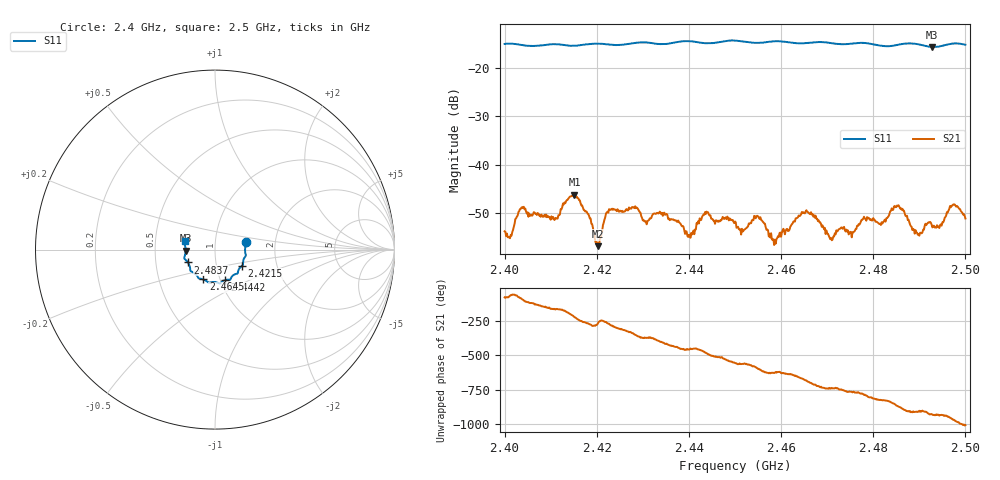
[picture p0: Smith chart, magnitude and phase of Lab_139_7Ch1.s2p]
# Hz S RI R 50
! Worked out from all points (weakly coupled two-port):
!   601 points, 2.4 GHz to 2.5 GHz, reference 50 ohm
!   highest |S21| = -46.21 dB at 2.4152 GHz (marker M1); lowest = -56.9 dB at 2.4202 GHz (marker M2)
!   lowest |S11| = -15.7 dB at 2.4928 GHz (marker M3), VSWR 1.39, Z = 36 - j0.384 ohm
!   |S11| at or under -10 dB: start of sweep to end of sweep
!   S12 and S22 are empty: the file has one direction only
!   S11 on the Smith chart (normalised r, x): 2.4 GHz: 1.41, +0.12; 2.4215 GHz: 1.33, -0.25; 2.4442 GHz: 1.05, -0.37; 2.4645 GHz: 0.83, -0.29; 2.4837 GHz: 0.73, -0.11; 2.5 GHz: 0.71, +0.07
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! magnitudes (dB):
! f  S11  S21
! 2.4 GHz  -15.1  -53.8
! 2.4037 GHz  -15.3  -48.9
! 2.411 GHz  -15.1  -51.0
! 2.4152 GHz  -15.5  -46.2
! 2.4167 GHz  -15.3  -48.5
! 2.4202 GHz  -15.0  -56.9
! 2.4215 GHz  -15.1  -52.1
! 2.4232 GHz  -15.3  -49.3
! 2.4333 GHz  -15.1  -50.1
! 2.4402 GHz  -14.5  -54.5
! 2.4442 GHz  -15.0  -49.9
! 2.45 GHz  -14.4  -51.8
! 2.4552 GHz  -14.9  -50.9
! 2.4585 GHz  -14.5  -56.6
! 2.4645 GHz  -15.0  -49.8
! 2.4667 GHz  -14.8  -50.4
! 2.471 GHz  -14.9  -55.6
! 2.4833 GHz  -15.6  -50.7
! 2.4837 GHz  -15.5  -49.7
! 2.4928 GHz  -15.7  -53.0
! 2.4972 GHz  -15.0  -48.5
! 2.5 GHz  -15.2  -51.1
